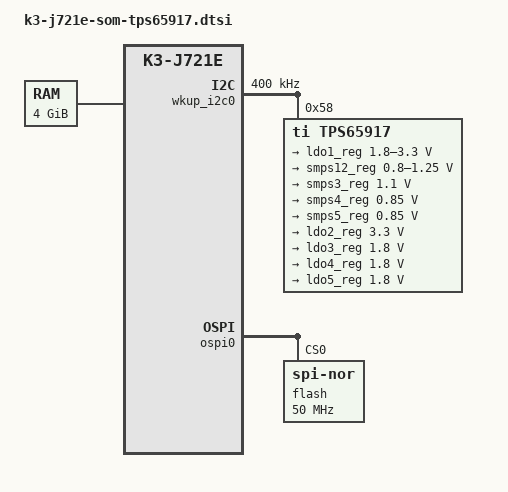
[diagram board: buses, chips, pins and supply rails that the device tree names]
// SPDX-License-Identifier: GPL-2.0
/*
 * Copyright (C) 2019 Texas Instruments Incorporated - http://www.ti.com/
 */

/dts-v1/;

#include "k3-j721e.dtsi"

/ {
	memory@80000000 {
		device_type = "memory";
		/* 4G RAM */
		reg = <0x00000000 0x80000000 0x00000000 0x80000000>,
		      <0x00000008 0x80000000 0x00000000 0x80000000>;
	};

	reserved_memory: reserved-memory {
		#address-cells = <2>;
		#size-cells = <2>;
		ranges;

		secure_ddr: optee@9e800000 {
			reg = <0x00 0x9e800000 0x00 0x01800000>;
			alignment = <0x1000>;
			no-map;
		};
	};
};

&wkup_pmx0 {
	wkup_i2c0_pins_default: wkup-i2c0-pins-default {
		pinctrl-single,pins = <
			J721E_WKUP_IOPAD(0xf8, PIN_INPUT_PULLUP, 0) /* (J25) WKUP_I2C0_SCL */
			J721E_WKUP_IOPAD(0xfc, PIN_INPUT_PULLUP, 0) /* (H24) WKUP_I2C0_SDA */
		>;
	};

	mcu_fss0_ospi0_pins_default: mcu-fss0-ospi0-pins-default {
		pinctrl-single,pins = <
			J721E_WKUP_IOPAD(0x0000, PIN_OUTPUT, 0) /* MCU_OSPI0_CLK */
			J721E_WKUP_IOPAD(0x0008, PIN_INPUT, 0)  /* MCU_OSPI0_DQS */
			J721E_WKUP_IOPAD(0x000c, PIN_INPUT, 0)  /* MCU_OSPI0_D0 */
			J721E_WKUP_IOPAD(0x0010, PIN_INPUT, 0)  /* MCU_OSPI0_D1 */
			J721E_WKUP_IOPAD(0x0014, PIN_INPUT, 0)  /* MCU_OSPI0_D2 */
			J721E_WKUP_IOPAD(0x0018, PIN_INPUT, 0)  /* MCU_OSPI0_D3 */
			J721E_WKUP_IOPAD(0x001c, PIN_INPUT, 0)  /* MCU_OSPI0_D4 */
			J721E_WKUP_IOPAD(0x0020, PIN_INPUT, 0)  /* MCU_OSPI0_D5 */
			J721E_WKUP_IOPAD(0x0024, PIN_INPUT, 0)  /* MCU_OSPI0_D6 */
			J721E_WKUP_IOPAD(0x0028, PIN_INPUT, 0)  /* MCU_OSPI0_D7 */
			J721E_WKUP_IOPAD(0x002c, PIN_OUTPUT, 0) /* MCU_OSPI0_CSn0 */
		>;
	};

	mcu_fss0_hpb0_pins_default: mcu-fss0-hpb0-pins-default {
		pinctrl-single,pins = <
			J721E_WKUP_IOPAD(0x0, PIN_OUTPUT, 1) /* (E20) MCU_OSPI0_CLK.MCU_HYPERBUS0_CK */
			J721E_WKUP_IOPAD(0x4, PIN_OUTPUT, 1) /* (C21) MCU_OSPI0_LBCLKO.MCU_HYPERBUS0_CKn */
			J721E_WKUP_IOPAD(0x2c, PIN_OUTPUT, 1) /* (F19) MCU_OSPI0_CSn0.MCU_HYPERBUS0_CSn0 */
			J721E_WKUP_IOPAD(0x54, PIN_OUTPUT, 3) /* (E22) MCU_OSPI1_CSn1.MCU_HYPERBUS0_CSn1 */
			J721E_WKUP_IOPAD(0x30, PIN_OUTPUT, 1) /* (E19) MCU_OSPI0_CSn1.MCU_HYPERBUS0_RESETn */
			J721E_WKUP_IOPAD(0x8, PIN_INPUT, 1) /* (D21) MCU_OSPI0_DQS.MCU_HYPERBUS0_RWDS */
			J721E_WKUP_IOPAD(0xc, PIN_INPUT, 1) /* (D20) MCU_OSPI0_D0.MCU_HYPERBUS0_DQ0 */
			J721E_WKUP_IOPAD(0x10, PIN_INPUT, 1) /* (G19) MCU_OSPI0_D1.MCU_HYPERBUS0_DQ1 */
			J721E_WKUP_IOPAD(0x14, PIN_INPUT, 1) /* (G20) MCU_OSPI0_D2.MCU_HYPERBUS0_DQ2 */
			J721E_WKUP_IOPAD(0x18, PIN_INPUT, 1) /* (F20) MCU_OSPI0_D3.MCU_HYPERBUS0_DQ3 */
			J721E_WKUP_IOPAD(0x1c, PIN_INPUT, 1) /* (F21) MCU_OSPI0_D4.MCU_HYPERBUS0_DQ4 */
			J721E_WKUP_IOPAD(0x20, PIN_INPUT, 1) /* (E21) MCU_OSPI0_D5.MCU_HYPERBUS0_DQ5 */
			J721E_WKUP_IOPAD(0x24, PIN_INPUT, 1) /* (B22) MCU_OSPI0_D6.MCU_HYPERBUS0_DQ6 */
			J721E_WKUP_IOPAD(0x28, PIN_INPUT, 1) /* (G21) MCU_OSPI0_D7.MCU_HYPERBUS0_DQ7 */
		>;
	};
};

&wkup_i2c0 {
	pinctrl-names = "default";
	pinctrl-0 = <&wkup_i2c0_pins_default>;
	clock-frequency = <400000>;

	tps65917: tps65917@58 {
		reg = <0x58>;
		compatible = "ti,tps65917";

		tps65917_pmic: tps65917_pmic {
			compatible = "ti,tps65917-pmic";

			ldo1-in-supply = <&vsys_3v3>;

			tps65917_regulators: regulators {
				ldo1_reg: ldo1 {
					/* LDO1_OUT --> VDD_SD_DV_REG  */
					regulator-name = "ldo1";
					regulator-min-microvolt = <1800000>;
					regulator-max-microvolt = <3300000>;
					regulator-allow-bypass;
					regulator-boot-on;
				};
			};
		};
	};
};

&ospi0 {
	pinctrl-names = "default";
	pinctrl-0 = <&mcu_fss0_ospi0_pins_default>;

	flash@0 {
		compatible = "jedec,spi-nor";
		reg = <0x0>;
		spi-tx-bus-width = <8>;
		spi-rx-bus-width = <8>;
		spi-max-frequency = <50000000>;
		spi-dqs;
		cdns,tshsl-ns = <60>;
		cdns,tsd2d-ns = <60>;
		cdns,tchsh-ns = <60>;
		cdns,tslch-ns = <60>;
		cdns,read-delay = <0>;
		cdns,phy-mode;
		#address-cells = <1>;
		#size-cells = <1>;
	};
};

&hbmc {
	status = "disabled";
	pinctrl-names = "default";
	pinctrl-0 = <&mcu_fss0_hpb0_pins_default>;
	ranges = <0x0 0x0 0x5 0x0 0x4000000>, /* 64MB Flash on CS0 */
		 <0x1 0x0 0x5 0x4000000 0x800000>; /* 8MB RAM on CS1 */

	flash@0,0 {
		compatible = "cypress,hyperflash", "cfi-flash";
		reg = <0x0 0x0 0x4000000>;
	};
};

&wkup_i2c0 {
	pinctrl-names = "default";
	pinctrl-0 = <&wkup_i2c0_pins_default>;
	clock-frequency = <400000>;
	u-boot,dm-spl;

	tps65917: tps65917@58 {
		reg = <0x58>;
		compatible = "ti,tps65917";
		interrupt-controller;
		#interrupt-cells = <2>;
		u-boot,dm-spl;

		ti,system-power-controller;

		tps65917_pmic {
			compatible = "ti,tps65917-pmic";
			u-boot,dm-spl;

			tps65917_regulators: regulators {
				u-boot,dm-spl;
				smps12_reg: smps12 {
					/* VDD_CPU_AVS_REG */
					regulator-name = "smps1";
					regulator-min-microvolt = <800000>;
					regulator-max-microvolt = <1250000>;
					regulator-always-on;
					regulator-boot-on;
					u-boot,dm-spl;
				};

				smps3_reg: smps3 {
					/* V917_SMPS3_1V1 */
					regulator-name = "smps3";
					regulator-min-microvolt = <1100000>;
					regulator-max-microvolt = <1100000>;
					regulator-boot-on;
					regulator-always-on;
					u-boot,dm-spl;
				};

				smps4_reg: smps4 {
					/* VDD_CORE_RAM_0V85_REG */
					regulator-name = "smps4";
					regulator-min-microvolt = <850000>;
					regulator-max-microvolt = <850000>;
					regulator-always-on;
					regulator-boot-on;
					u-boot,dm-spl;
				};

				smps5_reg: smps5 {
					/* VDD_CPU_RAM_0V85_REG */
					regulator-name = "smps5";
					regulator-min-microvolt = <850000>;
					regulator-max-microvolt = <850000>;
					regulator-boot-on;
					regulator-always-on;
					u-boot,dm-spl;
				};

				ldo1_reg: ldo1 {
					/* LDO1_OUT --> VDD_SD_DV_REG  */
					regulator-name = "ldo1";
					regulator-min-microvolt = <1800000>;
					regulator-max-microvolt = <3300000>;
					regulator-always-on;
					regulator-boot-on;
					regulator-allow-bypass;
					u-boot,dm-spl;
				};

				ldo2_reg: ldo2 {
					/* VDA_USB_3V3_REG */
					regulator-name = "ldo2";
					regulator-min-microvolt = <3300000>;
					regulator-max-microvolt = <3300000>;
					regulator-allow-bypass;
					u-boot,dm-spl;
				};

				ldo3_reg: ldo3 {
					/* VDA_PLL_1V8_REG */
					regulator-name = "ldo3";
					regulator-min-microvolt = <1800000>;
					regulator-max-microvolt = <1800000>;
					regulator-boot-on;
					regulator-always-on;
					u-boot,dm-spl;
				};

				ldo4_reg: ldo4 {
					/* V917_LDO4_1V8 */
					regulator-name = "ldo4";
					regulator-min-microvolt = <1800000>;
					regulator-max-microvolt = <1800000>;
					regulator-boot-on;
					u-boot,dm-spl;
				};

				ldo5_reg: ldo5 {
					/* VPP_EFUSE_1V8 */
					regulator-name = "ldo5";
					regulator-min-microvolt = <1800000>;
					regulator-max-microvolt = <1800000>;
					regulator-always-on;
					regulator-boot-on;
					u-boot,dm-spl;
				};
			};
		};
	};
};
